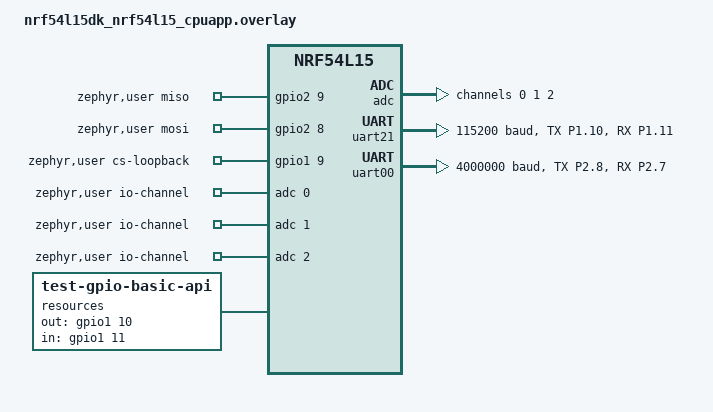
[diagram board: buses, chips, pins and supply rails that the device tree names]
/*
 * Copyright (c) 2024 Nordic Semiconductor ASA
 *
 * SPDX-License-Identifier: Apache-2.0
 */

/ {
	zephyr,user {
		miso-gpios = <&gpio2 9 GPIO_ACTIVE_HIGH>;
		mosi-gpios = <&gpio2 8 GPIO_ACTIVE_HIGH>;
		cs-loopback-gpios = <&gpio1 9 0>;
	};
};

&pinctrl {
	spi00_default: spi00_default {
		group1 {
			psels = <NRF_PSEL(SPIM_MISO, 2, 9)>;
		};

		group2 {
			psels = <NRF_PSEL(SPIM_SCK, 2, 6)>,
				<NRF_PSEL(SPIM_MOSI, 2, 8)>;
			nordic,drive-mode = <NRF_DRIVE_E0E1>;
		};
	};

	spi00_sleep: spi00_sleep {
		group1 {
			psels = <NRF_PSEL(SPIM_SCK, 2, 6)>,
				<NRF_PSEL(SPIM_MISO, 2, 9)>,
				<NRF_PSEL(SPIM_MOSI, 2, 8)>;
			low-power-enable;
		};
	};
};

/delete-node/ &mx25r64;

&spi00 {
	status = "okay";
	pinctrl-0 = <&spi00_default>;
	pinctrl-1 = <&spi00_sleep>;
	pinctrl-names = "default", "sleep";
	overrun-character = <0x00>;
	zephyr,pm-device-runtime-auto;
	cs-gpios = <&gpio1 8 0>;

	slow@0 {
		compatible = "test-spi-loopback-slow";
		reg = <0>;
		spi-max-frequency = <DT_FREQ_M(2)>;
	};

	dut_fast: fast@0 {
		compatible = "test-spi-loopback-fast";
		reg = <0>;
		spi-max-frequency = <DT_FREQ_M(4)>;
	};
};

&gpio1 {
	status = "okay";
};

&gpio2 {
	status = "okay";
};

/ {
	zephyr,user {
		io-channels = <&adc 0>, <&adc 1>, <&adc 2>;
	};
};

&adc {
	#address-cells = <1>;
	#size-cells = <0>;
	channel@0 {
		reg = <0>;
		zephyr,gain = "ADC_GAIN_1";
		zephyr,reference = "ADC_REF_INTERNAL";
		zephyr,acquisition-time = <ADC_ACQ_TIME(ADC_ACQ_TIME_MICROSECONDS, 10)>;
		zephyr,input-positive = <NRF_SAADC_AIN1>;
		zephyr,resolution = <10>;
	};
	channel@1 {
		reg = <1>;
		zephyr,gain = "ADC_GAIN_1_4";
		zephyr,reference = "ADC_REF_EXTERNAL0";
		zephyr,acquisition-time = <ADC_ACQ_TIME_DEFAULT>;
		zephyr,input-positive = <NRF_SAADC_AIN4>;
		zephyr,resolution = <12>;
	};
	channel@2 {
		reg = <2>;
		zephyr,gain = "ADC_GAIN_2_3";
		zephyr,reference = "ADC_REF_INTERNAL";
		zephyr,acquisition-time = <ADC_ACQ_TIME(ADC_ACQ_TIME_MICROSECONDS, 10)>;
		zephyr,input-positive = <NRF_SAADC_AIN2>;
		zephyr,resolution = <10>;
	};
};

/ {
	resources {
		compatible = "test-gpio-basic-api";
		out-gpios = <&gpio1 10 0>;
		in-gpios = <&gpio1 11 0>;
	};
};

&gpiote20 {
	status = "okay";
};

&spi00 {
	status = "disabled";
};

&pinctrl {
	uart21_default_alt: uart21_default_alt {
		group1 {
			psels = <NRF_PSEL(UART_TX, 1, 10)>,
				<NRF_PSEL(UART_RX, 1, 11)>;
		};
	};
	uart21_sleep_alt: uart21_sleep_alt {
		group1 {
			psels = <NRF_PSEL(UART_TX, 1, 10)>,
				<NRF_PSEL(UART_RX, 1, 11)>;
			low-power-enable;
		};
	};
	uart00_default_alt: uart00_default_alt {
		group1 {
			psels = <NRF_PSEL(UART_TX, 2, 8)>,
				<NRF_PSEL(UART_RX, 2, 7)>;
		};
	};
	uart00_sleep_alt: uart00_sleep_alt {
		group1 {
			psels = <NRF_PSEL(UART_TX, 2, 8)>,
				<NRF_PSEL(UART_RX, 2, 7)>;
			low-power-enable;
		};
	};
};

dut: &uart21 {
	status = "okay";
	pinctrl-0 = <&uart21_default_alt>;
	pinctrl-1 = <&uart21_sleep_alt>;
	pinctrl-names = "default", "sleep";
	current-speed = <115200>;
	timer = <&timer21>;
};

dut2: &uart00 {
	status = "okay";
	pinctrl-0 = <&uart00_default_alt>;
	pinctrl-1 = <&uart00_sleep_alt>;
	pinctrl-names = "default", "sleep";
	current-speed = <4000000>;
};
